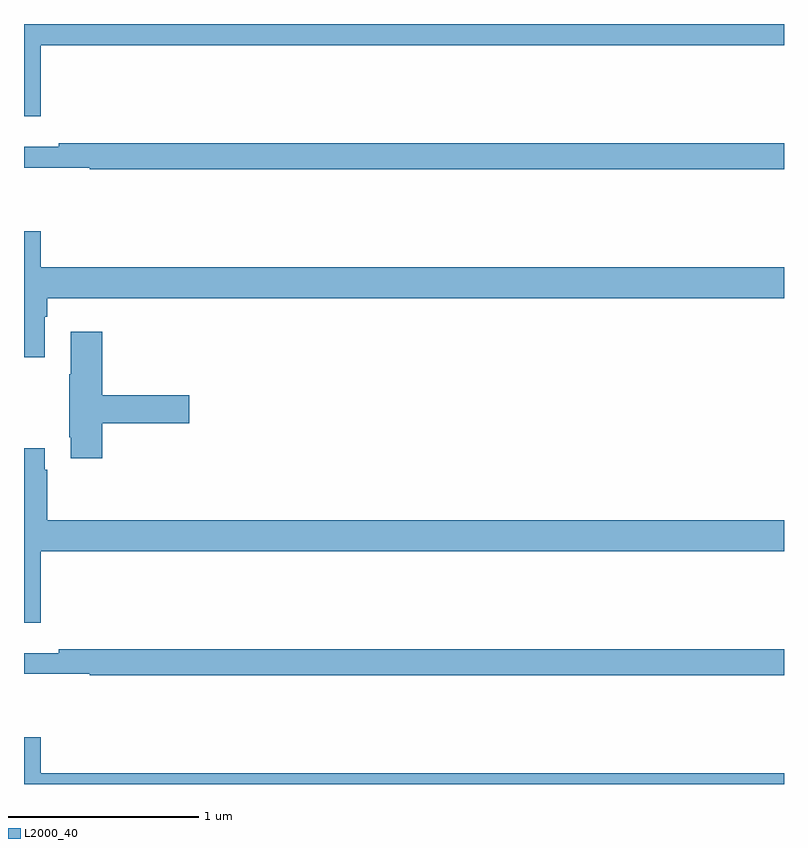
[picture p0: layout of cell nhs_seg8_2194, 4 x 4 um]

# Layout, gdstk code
import gdstk
lib = gdstk.Library(unit=1e-6, precision=1e-09)
def P(c, l, *ps):  # polygons
    for p in ps: c.add(gdstk.Polygon(p, *l))
L2000_40 = (2000, 40)

nhs_seg8_2194 = lib.new_cell('nhs_seg8_2194')
P(nhs_seg8_2194, L2000_40, [(249.088,1161.788),(253,1161.788),(253,1161.9),(249,1161.9),(249,1161.414),(249.088,1161.414)],
  [(253,1161.272),(249.184,1161.272),(249.184,1161.253),(249,1161.253),(249,1161.144),(249.345,1161.144),(249.345,1161.136),(253,1161.136)],
  [(249.109,1160.36),(249.122,1160.36),(249.122,1160.456),(253,1160.456),(253,1160.62),(249.088,1160.62),(249.088,1160.809),(249,1160.809),(249,1160.145),(249.109,1160.145)],
  [(249.413,1159.799),(249.871,1159.799),(249.871,1159.946),(249.413,1159.946),(249.413,1160.281),(249.245,1160.281),(249.245,1160.057),(249.238,1160.057),(249.238,1159.726),(249.245,1159.726),(249.245,1159.614),(249.413,1159.614)],
  [(249.088,1159.124),(253,1159.124),(253,1159.288),(249.122,1159.288),(249.122,1159.553),(249.109,1159.553),(249.109,1159.666),(249,1159.666),(249,1158.75),(249.088,1158.75)],
  [(253,1158.608),(249.184,1158.608),(249.184,1158.589),(249,1158.589),(249,1158.48),(249.345,1158.48),(249.345,1158.472),(253,1158.472)],
  [(253,1157.956),(249.088,1157.956),(249.088,1158.145),(249,1158.145),(249,1157.9),(253,1157.9)])

lib.write_gds('nhs_seg8_2194.gds')
